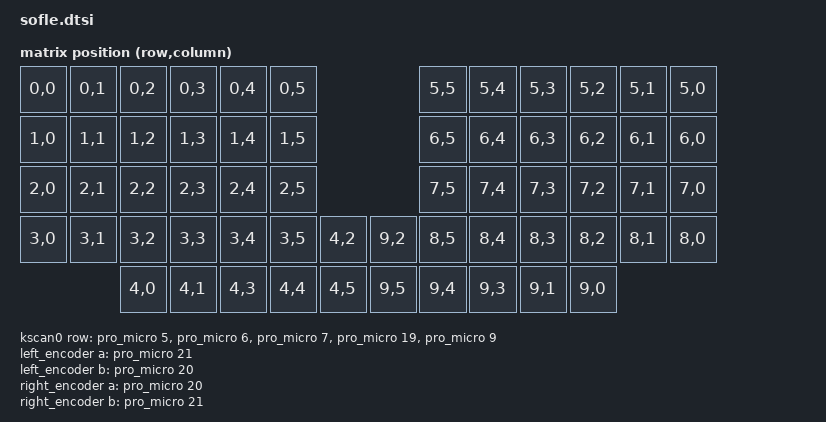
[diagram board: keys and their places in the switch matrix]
/*
 * Copyright (c) 2020 Pete Johanson, Ryan Cross
 *
 * SPDX-License-Identifier: MIT
 */

#include <dt-bindings/zmk/matrix_transform.h>

/ {
    chosen {
        zmk,kscan = &kscan0;
        zmk,matrix_transform = &default_transform;
    };

    default_transform: keymap_transform_0 {
        compatible = "zmk,matrix-transform";
        columns = <6>;
        rows = <10>;
// | SW1  | SW2  | SW3  | SW4  | SW5  | SW6  |                 | SW6  | SW5  | SW4  | SW3  | SW2  | SW1  |
// | SW7  | SW8  | SW9  | SW10 | SW11 | SW12 |                 | SW12 | SW11 | SW10 | SW9  | SW8  | SW7  |
// | SW13 | SW14 | SW15 | SW16 | SW17 | SW18 |                 | SW18 | SW17 | SW16 | SW15 | SW14 | SW13 |
// | SW19 | SW20 | SW21 | SW22 | SW23 | SW24 | SW25 |   | SW25 | SW24 | SW23 | SW22 | SW21 | SW20 | SW19 |
//               | SW26 | SW27 | SW28 | SW29 | SW30 |   | SW30 | SW29 | SW28 | SW27 | SW26 |
        map = <
RC(0,0) RC(0,1) RC(0,2) RC(0,3) RC(0,4) RC(0,5)                 RC(5,5) RC(5,4) RC(5,3) RC(5,2) RC(5,1) RC(5,0)
RC(1,0) RC(1,1) RC(1,2) RC(1,3) RC(1,4) RC(1,5)                 RC(6,5) RC(6,4) RC(6,3) RC(6,2) RC(6,1) RC(6,0)
RC(2,0) RC(2,1) RC(2,2) RC(2,3) RC(2,4) RC(2,5)                 RC(7,5) RC(7,4) RC(7,3) RC(7,2) RC(7,1) RC(7,0)
RC(3,0) RC(3,1) RC(3,2) RC(3,3) RC(3,4) RC(3,5) RC(4,2) RC(9,2) RC(8,5) RC(8,4) RC(8,3) RC(8,2) RC(8,1) RC(8,0)
                RC(4,0) RC(4,1) RC(4,3) RC(4,4) RC(4,5) RC(9,5) RC(9,4) RC(9,3) RC(9,1) RC(9,0)
        >;
    };

    kscan0: kscan_0 {
        compatible = "zmk,kscan-gpio-matrix";
        label = "KSCAN";
        diode-direction = "col2row";
        wakeup-source;

        row-gpios
            = <&pro_micro 5 (GPIO_ACTIVE_HIGH | GPIO_PULL_DOWN)>
            , <&pro_micro 6 (GPIO_ACTIVE_HIGH | GPIO_PULL_DOWN)>
            , <&pro_micro 7 (GPIO_ACTIVE_HIGH | GPIO_PULL_DOWN)>
            , <&pro_micro 19 (GPIO_ACTIVE_HIGH | GPIO_PULL_DOWN)>
            , <&pro_micro 9 (GPIO_ACTIVE_HIGH | GPIO_PULL_DOWN)>
            ;
    };

    left_encoder: encoder_left {
        compatible = "alps,ec11";
        label = "LEFT_ENCODER";
        a-gpios = <&pro_micro 21 (GPIO_ACTIVE_HIGH | GPIO_PULL_UP)>;
        b-gpios = <&pro_micro 20 (GPIO_ACTIVE_HIGH | GPIO_PULL_UP)>;
        steps = <80>;
        status = "disabled";
    };

    right_encoder: encoder_right {
        compatible = "alps,ec11";
        label = "RIGHT_ENCODER";
        a-gpios = <&pro_micro 20 (GPIO_ACTIVE_HIGH | GPIO_PULL_UP)>;
        b-gpios = <&pro_micro 21 (GPIO_ACTIVE_HIGH | GPIO_PULL_UP)>;
        steps = <80>;
        status = "disabled";
    };

    sensors: sensors {
        compatible = "zmk,keymap-sensors";
        sensors = <&left_encoder &right_encoder>;
        triggers-per-rotation = <20>;
    };
};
